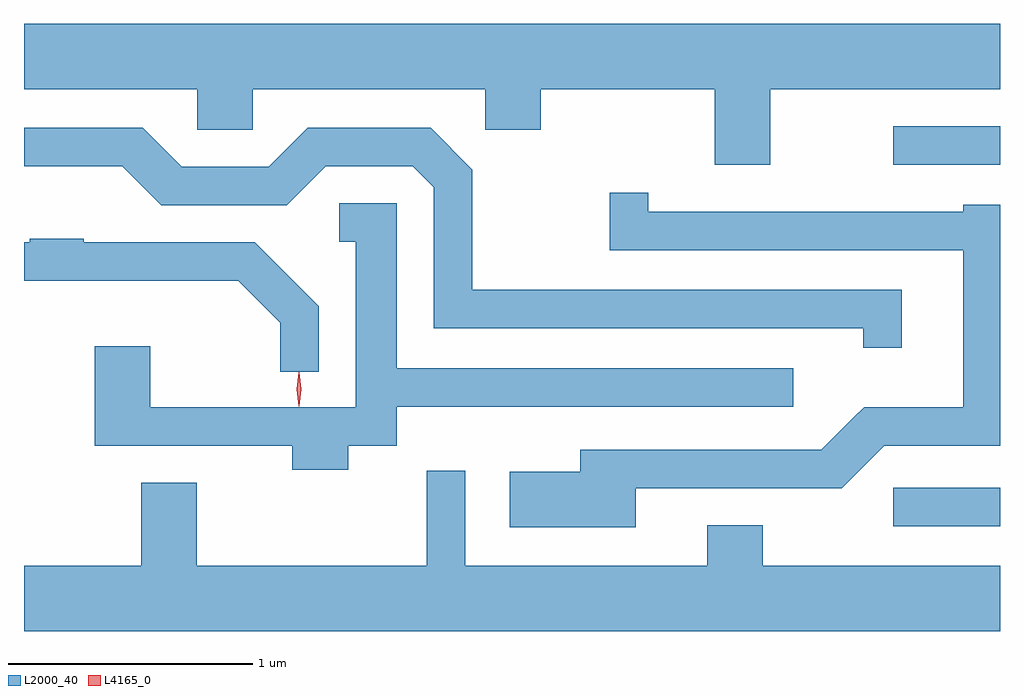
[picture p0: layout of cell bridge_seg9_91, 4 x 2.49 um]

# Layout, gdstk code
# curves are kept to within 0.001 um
import gdstk
lib = gdstk.Library(unit=1e-6, precision=1e-09)
def R(c, l, rs):  # rectangles x0, y0, x1, y1
    for r in rs: c.add(gdstk.rectangle(r[:2], r[2:], *l))
def P(c, l, *ps):  # polygons
    for p in ps: c.add(gdstk.Polygon(p, *l))
L2000_40 = (2000, 40)
L4165_0 = (4165, 0)

bridge_seg9_91 = lib.new_cell('bridge_seg9_91')
R(bridge_seg9_91, L2000_40, [(1760.113,2005.566,1760.551,2005.724), (1760.113,2007.046,1760.551,2007.204)])
P(bridge_seg9_91, L2000_40, [(1759.609,2007.356),(1760.551,2007.356),(1760.551,2007.624),(1756.551,2007.624),(1756.551,2007.356),(1757.261,2007.356),(1757.261,2007.191),(1757.489,2007.191),(1757.489,2007.356),(1758.441,2007.356),(1758.441,2007.191),(1758.669,2007.191),(1758.669,2007.356),(1759.381,2007.356),(1759.381,2007.046),(1759.609,2007.046)],
  [(1760.149,2006.534),(1758.389,2006.534),(1758.389,2007.027),(1758.217,2007.199),(1757.714,2007.199),(1757.554,2007.039),(1757.197,2007.039),(1757.037,2007.199),(1756.551,2007.199),(1756.551,2007.041),(1756.954,2007.041),(1757.114,2006.881),(1757.627,2006.881),(1757.787,2007.041),(1758.144,2007.041),(1758.231,2006.954),(1758.231,2006.376),(1759.991,2006.376),(1759.991,2006.298),(1760.149,2006.298)],
  [(1759.059,2005.721),(1759.902,2005.721),(1760.077,2005.896),(1760.551,2005.896),(1760.551,2006.884),(1760.401,2006.884),(1760.401,2006.854),(1759.109,2006.854),(1759.109,2006.933),(1758.951,2006.933),(1758.951,2006.696),(1760.401,2006.696),(1760.401,2006.054),(1759.994,2006.054),(1759.819,2005.879),(1758.831,2005.879),(1758.831,2005.789),(1758.541,2005.789),(1758.541,2005.561),(1759.059,2005.561)],
  [(1757.879,2005.896),(1758.079,2005.896),(1758.079,2006.056),(1759.703,2006.056),(1759.703,2006.214),(1758.079,2006.214),(1758.079,2006.889),(1757.843,2006.889),(1757.843,2006.731),(1757.911,2006.731),(1757.911,2006.054),(1757.069,2006.054),(1757.069,2006.304),(1756.841,2006.304),(1756.841,2005.896),(1757.651,2005.896),(1757.651,2005.796),(1757.879,2005.796)],
  [(1757.759,2006.467),(1757.497,2006.729),(1756.795,2006.729),(1756.795,2006.744),(1756.575,2006.744),(1756.575,2006.729),(1756.551,2006.729),(1756.551,2006.571),(1757.429,2006.571),(1757.601,2006.399),(1757.601,2006.198),(1757.759,2006.198)],
  [(1760.551,2005.404),(1759.579,2005.404),(1759.579,2005.569),(1759.351,2005.569),(1759.351,2005.404),(1758.359,2005.404),(1758.359,2005.793),(1758.201,2005.793),(1758.201,2005.404),(1757.259,2005.404),(1757.259,2005.744),(1757.031,2005.744),(1757.031,2005.404),(1756.551,2005.404),(1756.551,2005.136),(1760.551,2005.136)])
P(bridge_seg9_91, L4165_0, [(1757.678,2006.057),(1757.678,2006.058),(1757.668,2006.127),(1757.678,2006.196),(1757.678,2006.197),(1757.679,2006.196),(1757.688,2006.127),(1757.679,2006.058)])

lib.write_gds('bridge_seg9_91.gds')
